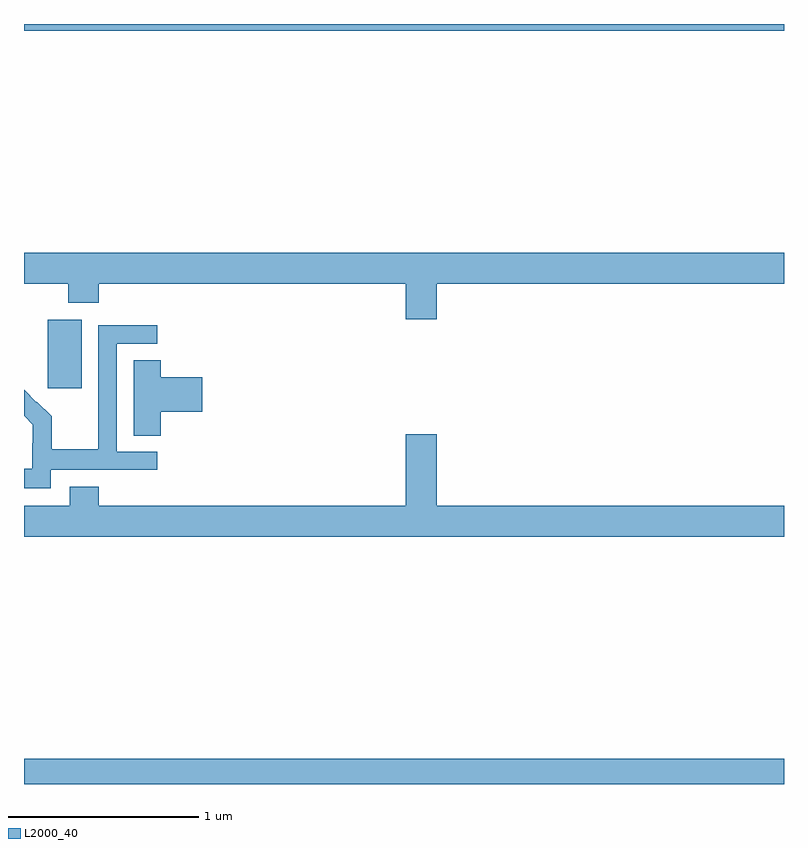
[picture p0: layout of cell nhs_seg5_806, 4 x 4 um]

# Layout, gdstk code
import gdstk
lib = gdstk.Library(unit=1e-6, precision=1e-09)
def R(c, l, rs):  # rectangles x0, y0, x1, y1
    for r in rs: c.add(gdstk.rectangle(r[:2], r[2:], *l))
def P(c, l, *ps):  # polygons
    for p in ps: c.add(gdstk.Polygon(p, *l))
L2000_40 = (2000, 40)

nhs_seg5_806 = lib.new_cell('nhs_seg5_806')
R(nhs_seg5_806, L2000_40, [(163,848.799,167,848.932), (163.124,850.881,163.303,851.242), (163,852.764,167,852.799)])
P(nhs_seg5_806, L2000_40, [(165.172,851.432),(167,851.432),(167,851.596),(163,851.596),(163,851.432),(163.234,851.432),(163.234,851.333),(163.394,851.333),(163.394,851.432),(165.008,851.432),(165.008,851.244),(165.172,851.244)],
  [(163.14,850.452),(163.702,850.452),(163.702,850.548),(163.488,850.548),(163.488,851.115),(163.702,851.115),(163.702,851.214),(163.392,851.214),(163.392,850.784),(163.39,850.784),(163.39,850.561),(163.145,850.561),(163.145,850.735),(163.068,850.812),(163.065,850.809),(163,850.875),(163,850.736),(163.046,850.69),(163.046,850.593),(163.044,850.593),(163.044,850.459),(163,850.459),(163,850.355),(163.14,850.355)],
  [(163.721,850.757),(163.939,850.757),(163.939,850.94),(163.721,850.94),(163.721,851.03),(163.577,851.03),(163.577,850.633),(163.721,850.633)],
  [(167,850.264),(165.172,850.264),(165.172,850.639),(165.008,850.639),(165.008,850.264),(163.394,850.264),(163.394,850.363),(163.241,850.363),(163.241,850.264),(163,850.264),(163,850.1),(167,850.1)])

lib.write_gds('nhs_seg5_806.gds')
